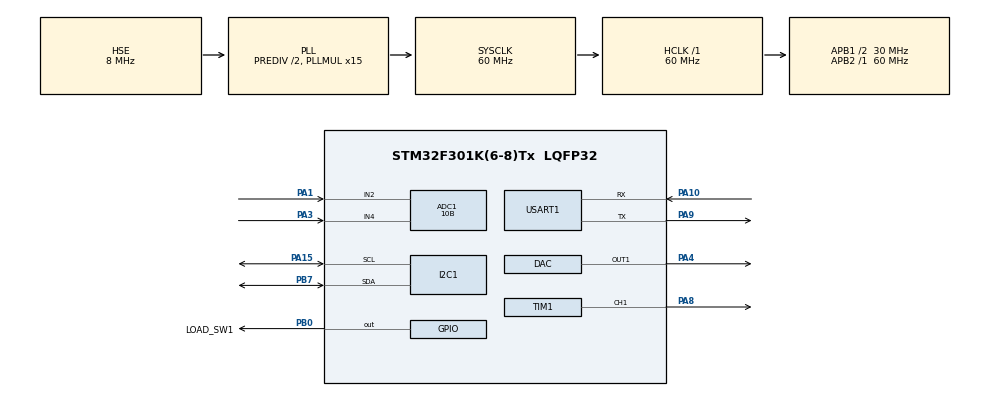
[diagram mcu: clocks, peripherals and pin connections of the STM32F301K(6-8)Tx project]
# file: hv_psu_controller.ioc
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ADC1.ClockPrescaler=ADC_CLOCK_ASYNC_DIV1
ADC1.ContinuousConvMode=DISABLE
ADC1.DMAContinuousRequests=DISABLE
ADC1.EnableInjectedConversion=DISABLE
ADC1.EnableRegularConversion=DISABLE
ADC1.Resolution=ADC_RESOLUTION_10B
ADC1.master=1
Dma.ADC1.0.Direction=DMA_PERIPH_TO_MEMORY
Dma.ADC1.0.Instance=DMA1_Channel1
Dma.ADC1.0.MemDataAlignment=DMA_MDATAALIGN_HALFWORD
Dma.ADC1.0.MemInc=DMA_MINC_ENABLE
Dma.ADC1.0.Mode=DMA_NORMAL
Dma.ADC1.0.PeriphDataAlignment=DMA_PDATAALIGN_HALFWORD
Dma.ADC1.0.PeriphInc=DMA_PINC_DISABLE
Dma.ADC1.0.Priority=DMA_PRIORITY_LOW
Dma.Request0=ADC1
Mcu.Family=STM32F3
Mcu.Name=STM32F301K(6-8)Tx
Mcu.Package=LQFP32
NVIC.DMA1_Channel1_IRQn=true\:0\:0\:false\:false\:true\:false\:true\:true
NVIC.PriorityGroup=NVIC_PRIORITYGROUP_4
NVIC.TIM2_IRQn=true\:0\:0\:false\:false\:true\:true\:true\:true
PA1.Mode=IN2-Single-Ended
PA1.Signal=ADC1_IN2
PA10.Mode=Asynchronous
PA10.Signal=USART1_RX
PA13.Mode=Serial_Wire
PA13.Signal=SYS_JTMS-SWDIO
PA14.Mode=Serial_Wire
PA14.Signal=SYS_JTCK-SWCLK
PA15.Mode=I2C
PA15.Signal=I2C1_SCL
PA3.Mode=IN4-Single-Ended
PA3.Signal=ADC1_IN4
PA4.Signal=COMP_DAC1_group
PA8.Signal=S_TIM1_CH1
PA9.Mode=Asynchronous
PA9.Signal=USART1_TX
PB0.GPIO_Label=LOAD_SW1
PB0.Signal=GPIO_Output
PB7.Mode=I2C
PB7.Signal=I2C1_SDA
PF0-OSC_IN.Mode=HSE-External-Oscillator
PF0-OSC_IN.Signal=RCC_OSC_IN
PF1-OSC_OUT.Mode=HSE-External-Oscillator
PF1-OSC_OUT.Signal=RCC_OSC_OUT
ProjectManager.HeapSize=0x200
ProjectManager.StackSize=0x400
ProjectManager.TargetToolchain=STM32CubeIDE
RCC.ADC12PRES=RCC_ADC1PLLCLK_DIV8
RCC.AHBFreq_Value=60000000
RCC.APB1CLKDivider=RCC_HCLK_DIV2
RCC.APB1Freq_Value=30000000
RCC.APB1TimFreq_Value=60000000
RCC.APB2Freq_Value=60000000
RCC.APB2TimFreq_Value=60000000
RCC.CortexFreq_Value=60000000
RCC.HCLKFreq_Value=60000000
RCC.HSE_VALUE=8000000
RCC.HSI_VALUE=8000000
RCC.PLLMUL=RCC_PLL_MUL15
RCC.PLLSourceVirtual=RCC_PLLSOURCE_HSE
RCC.RCC_PLLsource_Clock_Source_FROM_HSE=RCC_HSE_PREDIV_DIV2
RCC.SYSCLKFreq_VALUE=60000000
RCC.SYSCLKSourceVirtual=RCC_SYSCLKSOURCE_PLLCLK
SH.COMP_DAC1_group.0=DAC_OUT1,DAC_OUT1
SH.S_TIM1_CH1.0=TIM1_CH1,PWM Generation1 CH1
TIM1.Channel-PWM\ Generation1\ CH1=TIM_CHANNEL_1
TIM1.Period=2000
TIM2.Period=4000
USART1.VirtualMode-Asynchronous=VM_ASYNC
VP_TIM1_VS_ClockSourceINT.Mode=Internal
VP_TIM2_VS_ClockSourceINT.Mode=Internal
board=custom

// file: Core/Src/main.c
/* USER CODE BEGIN Header */
/**
  ******************************************************************************
  * @file           : main.c
  * @brief          : Main program body
  ******************************************************************************
  * @attention
  *
  * Copyright (c) 2023 STMicroelectronics.
  * All rights reserved.
  *
  * This software is licensed under terms that can be found in the LICENSE file
  * in the root directory of this software component.
  * If no LICENSE file comes with this software, it is provided AS-IS.
  *
  ******************************************************************************
  */
/* USER CODE END Header */
#include "main.h"

ADC_HandleTypeDef hadc1;
DMA_HandleTypeDef hdma_adc1;

DAC_HandleTypeDef hdac;

I2C_HandleTypeDef hi2c1;

TIM_HandleTypeDef htim1;
TIM_HandleTypeDef htim2;

UART_HandleTypeDef huart1;

/* USER CODE BEGIN PV */
volatile uint32_t val = 0;
volatile float div_const = 0.313121;
volatile uint32_t uki = 0;
volatile float uref = 0;
volatile float Ap = 0.1;
volatile float ufb = 0;
volatile float duty = 0.0;
volatile float error = 0.0;
/* USER CODE END PV */

void SystemClock_Config(void);
static void MX_GPIO_Init(void);
static void MX_DMA_Init(void);
static void MX_ADC1_Init(void);
static void MX_DAC_Init(void);
static void MX_I2C1_Init(void);
static void MX_USART1_UART_Init(void);
static void MX_TIM1_Init(void);
static void MX_TIM2_Init(void);

/* USER CODE BEGIN 0 */
float v = 0 ;
float x_err_prev = 0 ;
float K_PD = 2.0;
float K_ID = 0.0001;
float V_MAX = 1500;
float V_MIN = 0;

float pi_controller (float x_err )
{
	float integrator = K_PD*K_ID*x_err;

	v = v+integrator+K_PD*(x_err-x_err_prev);

	if ( v > V_MAX)
	{
		v = V_MAX;
	}
	else if ( v < V_MIN)
	{
		v = V_MIN;
	}
	x_err_prev = x_err ;
	return v ;
}

void HAL_TIM_PeriodElapsedCallback(TIM_HandleTypeDef *htim)
{
	error = uref - ufb;
	htim1.Instance->CCR1 = (uint32_t)pi_controller(error);

	/*
	if(error > 0)
	{
		duty = Ap*error;
	}
	else if (error < 0)
	{

	}
	*/
	  /*if(ufb < uref)
	  {
		  //htim1.Instance->CCR1 = Ap*(uref - adc_val);
		  //if(htim1.Instance->CCR1 != 1000) htim1.Instance->CCR1 = htim1.Instance->CCR1+10;

	  }
	  if(ufb > uref)
	  {
		  //htim1.Instance->CCR1 = 0;
		  //if(htim1.Instance->CCR1 >= 40) htim1.Instance->CCR1 = htim1.Instance->CCR1-40;
	  }
	  */
	  uint32_t adc_val = 0;
	  HAL_ADC_Start(&hadc1);
	  HAL_ADC_PollForConversion(&hadc1, 10); // poll for conversion
	  adc_val = HAL_ADC_GetValue(&hadc1); // get the adc value
	  HAL_ADC_Stop(&hadc1); // stop adc

	  ufb = 991.0*((float)adc_val/1024)*3.25;

	 /* float uerr = (float)uki-ufb;
	  htim1.Instance->CCR1 = (uint32_t)pi_controller(uerr);
*/

}
/* USER CODE END 0 */

int main(void)
{

  /* MCU Configuration--------------------------------------------------------*/

  /* Reset of all peripherals, Initializes the Flash interface and the Systick. */
  HAL_Init();

  /* Configure the system clock */
  SystemClock_Config();

  /* Initialize all configured peripherals */
  MX_GPIO_Init();
  MX_DMA_Init();
  MX_ADC1_Init();
  MX_DAC_Init();
  MX_I2C1_Init();
  MX_USART1_UART_Init();
  MX_TIM1_Init();
  MX_TIM2_Init();
  /* USER CODE BEGIN 2 */

  HAL_TIM_Base_Start_IT(&htim2);

  //htim1.Instance->CCR1 = 30;
  HAL_TIM_PWM_Start(&htim1, TIM_CHANNEL_1);
  /* USER CODE END 2 */

  /* Infinite loop */
  /* USER CODE BEGIN WHILE */
  while (1)
  {
	  //uint8_t data[] = "HELLO WORLD \r\n";
	  volatile char Rx_data[32] = "";
	  volatile char command[16] = "";
	  volatile char data[16] = "";

	  HAL_UART_Receive(&huart1, (uint8_t*)Rx_data, 32, 100);
	  sscanf(Rx_data,"%s %i", command,&val);

	  if(strcmp("Set_DAC",command) == 0)
	  {
		  sprintf(data,"%d",val);
		  HAL_DAC_SetValue(&hdac, DAC_CHANNEL_1, DAC_ALIGN_12B_R, val);
		  HAL_UART_Transmit(&huart1, (uint8_t*)data, sizeof (data), 10);

	  }
	  if(strcmp("Get_DAC",command) == 0)
	  {
		  sprintf(data,"%d",val);
		  HAL_UART_Transmit(&huart1, (uint8_t*)data, sizeof(data), 10);
	  }
	  if(strcmp("Set_SW1",command) == 0)
	  {
		  HAL_GPIO_WritePin(GPIOB, GPIO_PIN_0, val);
	  }

	  if(strcmp("Set_Duty",command) == 0)
	  {
		  htim1.Instance->CCR1 = val;
	  }

	  if(strcmp("Set_HW",command) == 0)
	  {
		  sprintf(data,"%d",val);
		  HAL_UART_Transmit(&huart1, (uint8_t*)data, sizeof(data), 10);
		  uki = (uint32_t)val;

		  // uref = (uint32_t)(div_const*(float)uki);
		  uref = (float)uki - 40.0;
		  sprintf(data,"%d",uref);
		  HAL_UART_Transmit(&huart1, (uint8_t*)data, sizeof(data), 10);

	  }
	  sprintf(data,"%d\n",htim1.Instance->CCR1);
	  HAL_UART_Transmit(&huart1, (uint8_t*)data, sizeof(data), 10);

    /* USER CODE END WHILE */

  }
}

void SystemClock_Config(void)
{
  RCC_OscInitTypeDef RCC_OscInitStruct = {0};
  RCC_ClkInitTypeDef RCC_ClkInitStruct = {0};
  RCC_PeriphCLKInitTypeDef PeriphClkInit = {0};

  /** Initializes the RCC Oscillators according to the specified parameters
  * in the RCC_OscInitTypeDef structure.
  */
  RCC_OscInitStruct.OscillatorType = RCC_OSCILLATORTYPE_HSI|RCC_OSCILLATORTYPE_HSE;
  RCC_OscInitStruct.HSEState = RCC_HSE_ON;
  RCC_OscInitStruct.HSEPredivValue = RCC_HSE_PREDIV_DIV2;
  RCC_OscInitStruct.HSIState = RCC_HSI_ON;
  RCC_OscInitStruct.HSICalibrationValue = RCC_HSICALIBRATION_DEFAULT;
  RCC_OscInitStruct.PLL.PLLState = RCC_PLL_ON;
  RCC_OscInitStruct.PLL.PLLSource = RCC_PLLSOURCE_HSE;
  RCC_OscInitStruct.PLL.PLLMUL = RCC_PLL_MUL15;
  if (HAL_RCC_OscConfig(&RCC_OscInitStruct) != HAL_OK)
  {
    Error_Handler();
  }

  /** Initializes the CPU, AHB and APB buses clocks
  */
  RCC_ClkInitStruct.ClockType = RCC_CLOCKTYPE_HCLK|RCC_CLOCKTYPE_SYSCLK
                              |RCC_CLOCKTYPE_PCLK1|RCC_CLOCKTYPE_PCLK2;
  RCC_ClkInitStruct.SYSCLKSource = RCC_SYSCLKSOURCE_PLLCLK;
  RCC_ClkInitStruct.AHBCLKDivider = RCC_SYSCLK_DIV1;
  RCC_ClkInitStruct.APB1CLKDivider = RCC_HCLK_DIV2;
  RCC_ClkInitStruct.APB2CLKDivider = RCC_HCLK_DIV1;

  if (HAL_RCC_ClockConfig(&RCC_ClkInitStruct, FLASH_LATENCY_2) != HAL_OK)
  {
    Error_Handler();
  }
  PeriphClkInit.PeriphClockSelection = RCC_PERIPHCLK_USART1|RCC_PERIPHCLK_I2C1
                              |RCC_PERIPHCLK_TIM1|RCC_PERIPHCLK_ADC1;
  PeriphClkInit.Usart1ClockSelection = RCC_USART1CLKSOURCE_PCLK1;
  PeriphClkInit.I2c1ClockSelection = RCC_I2C1CLKSOURCE_HSI;
  PeriphClkInit.Tim1ClockSelection = RCC_TIM1CLK_HCLK;
  PeriphClkInit.Adc1ClockSelection = RCC_ADC1PLLCLK_DIV8;

  if (HAL_RCCEx_PeriphCLKConfig(&PeriphClkInit) != HAL_OK)
  {
    Error_Handler();
  }
}

static void MX_ADC1_Init(void)
{

  /** Common config
  */
  hadc1.Instance = ADC1;
  hadc1.Init.ClockPrescaler = ADC_CLOCK_ASYNC_DIV1;
  hadc1.Init.Resolution = ADC_RESOLUTION_10B;
  hadc1.Init.ScanConvMode = ADC_SCAN_DISABLE;
  hadc1.Init.ContinuousConvMode = DISABLE;
  hadc1.Init.DiscontinuousConvMode = DISABLE;
  hadc1.Init.DataAlign = ADC_DATAALIGN_RIGHT;
  hadc1.Init.NbrOfConversion = 1;
  hadc1.Init.DMAContinuousRequests = DISABLE;
  hadc1.Init.EOCSelection = ADC_EOC_SINGLE_CONV;
  hadc1.Init.LowPowerAutoWait = DISABLE;
  hadc1.Init.Overrun = ADC_OVR_DATA_OVERWRITTEN;
  if (HAL_ADC_Init(&hadc1) != HAL_OK)
  {
    Error_Handler();
  }
  /* USER CODE BEGIN ADC1_Init 2 */
  ADC_ChannelConfTypeDef sConfig = {0};

   sConfig.Channel = ADC_CHANNEL_2;
   sConfig.Rank = ADC_REGULAR_RANK_1;
   sConfig.SamplingTime = ADC_SAMPLETIME_1CYCLE_5;
   if (HAL_ADC_ConfigChannel(&hadc1, &sConfig) != HAL_OK)
   {
     Error_Handler();
   }
  /* USER CODE END ADC1_Init 2 */

}

static void MX_DAC_Init(void)
{

  DAC_ChannelConfTypeDef sConfig = {0};

  /** DAC Initialization
  */
  hdac.Instance = DAC;
  if (HAL_DAC_Init(&hdac) != HAL_OK)
  {
    Error_Handler();
  }

  /** DAC channel OUT1 config
  */
  sConfig.DAC_Trigger = DAC_TRIGGER_NONE;
  sConfig.DAC_OutputBuffer = DAC_OUTPUTBUFFER_ENABLE;
  if (HAL_DAC_ConfigChannel(&hdac, &sConfig, DAC_CHANNEL_1) != HAL_OK)
  {
    Error_Handler();
  }
  /* USER CODE BEGIN DAC_Init 2 */
  HAL_DAC_MspInit(&hdac);
  __HAL_DAC_ENABLE(&hdac,DAC_CHANNEL_1);
  HAL_DAC_Start(&hdac,DAC_CHANNEL_1);
  HAL_DAC_SetValue(&hdac,DAC_CHANNEL_1,DAC_ALIGN_12B_R,0);
  /* USER CODE END DAC_Init 2 */

}

static void MX_I2C1_Init(void)
{

  hi2c1.Instance = I2C1;
  hi2c1.Init.Timing = 0x2000090E;
  hi2c1.Init.OwnAddress1 = 0;
  hi2c1.Init.AddressingMode = I2C_ADDRESSINGMODE_7BIT;
  hi2c1.Init.DualAddressMode = I2C_DUALADDRESS_DISABLE;
  hi2c1.Init.OwnAddress2 = 0;
  hi2c1.Init.OwnAddress2Masks = I2C_OA2_NOMASK;
  hi2c1.Init.GeneralCallMode = I2C_GENERALCALL_DISABLE;
  hi2c1.Init.NoStretchMode = I2C_NOSTRETCH_DISABLE;
  if (HAL_I2C_Init(&hi2c1) != HAL_OK)
  {
    Error_Handler();
  }

  /** Configure Analogue filter
  */
  if (HAL_I2CEx_ConfigAnalogFilter(&hi2c1, I2C_ANALOGFILTER_ENABLE) != HAL_OK)
  {
    Error_Handler();
  }

  /** Configure Digital filter
  */
  if (HAL_I2CEx_ConfigDigitalFilter(&hi2c1, 0) != HAL_OK)
  {
    Error_Handler();
  }

}

static void MX_TIM1_Init(void)
{

  TIM_ClockConfigTypeDef sClockSourceConfig = {0};
  TIM_MasterConfigTypeDef sMasterConfig = {0};
  TIM_OC_InitTypeDef sConfigOC = {0};
  TIM_BreakDeadTimeConfigTypeDef sBreakDeadTimeConfig = {0};

  htim1.Instance = TIM1;
  htim1.Init.Prescaler = 0;
  htim1.Init.CounterMode = TIM_COUNTERMODE_UP;
  htim1.Init.Period = 2000;
  htim1.Init.ClockDivision = TIM_CLOCKDIVISION_DIV1;
  htim1.Init.RepetitionCounter = 0;
  htim1.Init.AutoReloadPreload = TIM_AUTORELOAD_PRELOAD_DISABLE;
  if (HAL_TIM_Base_Init(&htim1) != HAL_OK)
  {
    Error_Handler();
  }
  sClockSourceConfig.ClockSource = TIM_CLOCKSOURCE_INTERNAL;
  if (HAL_TIM_ConfigClockSource(&htim1, &sClockSourceConfig) != HAL_OK)
  {
    Error_Handler();
  }
  if (HAL_TIM_PWM_Init(&htim1) != HAL_OK)
  {
    Error_Handler();
  }
  sMasterConfig.MasterOutputTrigger = TIM_TRGO_RESET;
  sMasterConfig.MasterOutputTrigger2 = TIM_TRGO2_RESET;
  sMasterConfig.MasterSlaveMode = TIM_MASTERSLAVEMODE_DISABLE;
  if (HAL_TIMEx_MasterConfigSynchronization(&htim1, &sMasterConfig) != HAL_OK)
  {
    Error_Handler();
  }
  sConfigOC.OCMode = TIM_OCMODE_PWM1;
  sConfigOC.Pulse = 0;
  sConfigOC.OCPolarity = TIM_OCPOLARITY_HIGH;
  sConfigOC.OCNPolarity = TIM_OCNPOLARITY_HIGH;
  sConfigOC.OCFastMode = TIM_OCFAST_DISABLE;
  sConfigOC.OCIdleState = TIM_OCIDLESTATE_RESET;
  sConfigOC.OCNIdleState = TIM_OCNIDLESTATE_RESET;
  if (HAL_TIM_PWM_ConfigChannel(&htim1, &sConfigOC, TIM_CHANNEL_1) != HAL_OK)
  {
    Error_Handler();
  }
  sBreakDeadTimeConfig.OffStateRunMode = TIM_OSSR_DISABLE;
  sBreakDeadTimeConfig.OffStateIDLEMode = TIM_OSSI_DISABLE;
  sBreakDeadTimeConfig.LockLevel = TIM_LOCKLEVEL_OFF;
  sBreakDeadTimeConfig.DeadTime = 0;
  sBreakDeadTimeConfig.BreakState = TIM_BREAK_DISABLE;
  sBreakDeadTimeConfig.BreakPolarity = TIM_BREAKPOLARITY_HIGH;
  sBreakDeadTimeConfig.BreakFilter = 0;
  sBreakDeadTimeConfig.Break2State = TIM_BREAK2_DISABLE;
  sBreakDeadTimeConfig.Break2Polarity = TIM_BREAK2POLARITY_HIGH;
  sBreakDeadTimeConfig.Break2Filter = 0;
  sBreakDeadTimeConfig.AutomaticOutput = TIM_AUTOMATICOUTPUT_DISABLE;
  if (HAL_TIMEx_ConfigBreakDeadTime(&htim1, &sBreakDeadTimeConfig) != HAL_OK)
  {
    Error_Handler();
  }
  HAL_TIM_MspPostInit(&htim1);

}

static void MX_TIM2_Init(void)
{

  TIM_ClockConfigTypeDef sClockSourceConfig = {0};
  TIM_MasterConfigTypeDef sMasterConfig = {0};

  htim2.Instance = TIM2;
  htim2.Init.Prescaler = 0;
  htim2.Init.CounterMode = TIM_COUNTERMODE_UP;
  htim2.Init.Period = 4000;
  htim2.Init.ClockDivision = TIM_CLOCKDIVISION_DIV1;
  htim2.Init.AutoReloadPreload = TIM_AUTORELOAD_PRELOAD_DISABLE;
  if (HAL_TIM_Base_Init(&htim2) != HAL_OK)
  {
    Error_Handler();
  }
  sClockSourceConfig.ClockSource = TIM_CLOCKSOURCE_INTERNAL;
  if (HAL_TIM_ConfigClockSource(&htim2, &sClockSourceConfig) != HAL_OK)
  {
    Error_Handler();
  }
  sMasterConfig.MasterOutputTrigger = TIM_TRGO_RESET;
  sMasterConfig.MasterSlaveMode = TIM_MASTERSLAVEMODE_DISABLE;
  if (HAL_TIMEx_MasterConfigSynchronization(&htim2, &sMasterConfig) != HAL_OK)
  {
    Error_Handler();
  }

}

static void MX_USART1_UART_Init(void)
{

  huart1.Instance = USART1;
  huart1.Init.BaudRate = 38400;
  huart1.Init.WordLength = UART_WORDLENGTH_8B;
  huart1.Init.StopBits = UART_STOPBITS_1;
  huart1.Init.Parity = UART_PARITY_NONE;
  huart1.Init.Mode = UART_MODE_TX_RX;
  huart1.Init.HwFlowCtl = UART_HWCONTROL_NONE;
  huart1.Init.OverSampling = UART_OVERSAMPLING_16;
  huart1.Init.OneBitSampling = UART_ONE_BIT_SAMPLE_DISABLE;
  huart1.AdvancedInit.AdvFeatureInit = UART_ADVFEATURE_NO_INIT;
  if (HAL_UART_Init(&huart1) != HAL_OK)
  {
    Error_Handler();
  }

}

static void MX_DMA_Init(void)
{

  /* DMA controller clock enable */
  __HAL_RCC_DMA1_CLK_ENABLE();

  /* DMA interrupt init */
  /* DMA1_Channel1_IRQn interrupt configuration */
  HAL_NVIC_SetPriority(DMA1_Channel1_IRQn, 0, 0);
  HAL_NVIC_EnableIRQ(DMA1_Channel1_IRQn);

}

static void MX_GPIO_Init(void)
{
  GPIO_InitTypeDef GPIO_InitStruct = {0};

  /* GPIO Ports Clock Enable */
  __HAL_RCC_GPIOF_CLK_ENABLE();
  __HAL_RCC_GPIOA_CLK_ENABLE();
  __HAL_RCC_GPIOB_CLK_ENABLE();

  /*Configure GPIO pin Output Level */
  HAL_GPIO_WritePin(LOAD_SW1_GPIO_Port, LOAD_SW1_Pin, GPIO_PIN_RESET);

  /*Configure GPIO pin : LOAD_SW1_Pin */
  GPIO_InitStruct.Pin = LOAD_SW1_Pin;
  GPIO_InitStruct.Mode = GPIO_MODE_OUTPUT_PP;
  GPIO_InitStruct.Pull = GPIO_NOPULL;
  GPIO_InitStruct.Speed = GPIO_SPEED_FREQ_LOW;
  HAL_GPIO_Init(LOAD_SW1_GPIO_Port, &GPIO_InitStruct);

}

void Error_Handler(void)
{
  __disable_irq();
  while (1)
  {
  }
}
